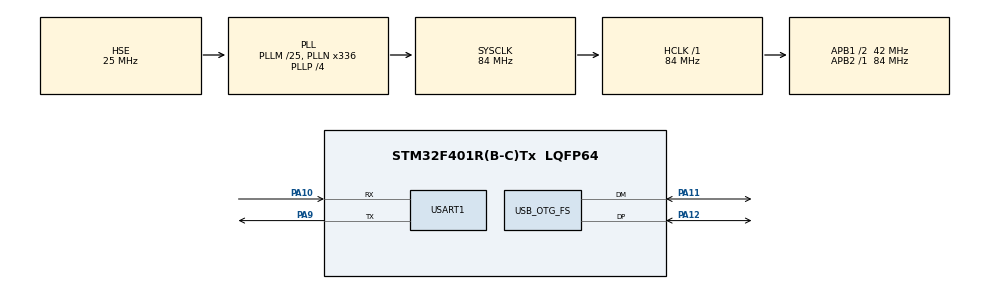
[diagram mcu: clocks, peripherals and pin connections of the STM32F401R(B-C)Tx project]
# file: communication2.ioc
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Mcu.Family=STM32F4
Mcu.Name=STM32F401R(B-C)Tx
Mcu.Package=LQFP64
NVIC.OTG_FS_IRQn=true\:0\:0\:false\:false\:true\:false\:true\:true
NVIC.PriorityGroup=NVIC_PRIORITYGROUP_4
PA10.Mode=Asynchronous
PA10.Signal=USART1_RX
PA11.Mode=Device_Only
PA11.Signal=USB_OTG_FS_DM
PA12.Mode=Device_Only
PA12.Signal=USB_OTG_FS_DP
PA13.Mode=Serial_Wire
PA13.Signal=SYS_JTMS-SWDIO
PA14.Mode=Serial_Wire
PA14.Signal=SYS_JTCK-SWCLK
PA9.Mode=Asynchronous
PA9.Signal=USART1_TX
PH0\ -\ OSC_IN.Mode=HSE-External-Oscillator
PH0\ -\ OSC_IN.Signal=RCC_OSC_IN
PH1\ -\ OSC_OUT.Mode=HSE-External-Oscillator
PH1\ -\ OSC_OUT.Signal=RCC_OSC_OUT
ProjectManager.HeapSize=0x400
ProjectManager.StackSize=0x800
ProjectManager.TargetToolchain=STM32CubeIDE
RCC.48MHZClocksFreq_Value=48000000
RCC.AHBFreq_Value=84000000
RCC.APB1CLKDivider=RCC_HCLK_DIV2
RCC.APB1Freq_Value=42000000
RCC.APB1TimFreq_Value=84000000
RCC.APB2Freq_Value=84000000
RCC.APB2TimFreq_Value=84000000
RCC.CortexFreq_Value=84000000
RCC.HCLKFreq_Value=84000000
RCC.HSE_VALUE=25000000
RCC.HSI_VALUE=16000000
RCC.LSE_VALUE=32768
RCC.PLLM=25
RCC.PLLN=336
RCC.PLLP=RCC_PLLP_DIV4
RCC.PLLQ=7
RCC.SYSCLKFreq_VALUE=84000000
RCC.SYSCLKSource=RCC_SYSCLKSOURCE_PLLCLK
RCC.VCOOutputFreq_Value=336000000
USART1.VirtualMode=VM_ASYNC
USB_DEVICE.CLASS_NAME_FS=CDC
USB_DEVICE.VirtualMode=Cdc
USB_DEVICE.VirtualModeFS=Cdc_FS
USB_OTG_FS.VirtualMode=Device_Only
VP_USB_DEVICE_VS_USB_DEVICE_CDC_FS.Mode=CDC_FS
board=custom

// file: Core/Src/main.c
/* USER CODE BEGIN Header */
/**
  ******************************************************************************
  * @file           : main.c
  * @brief          : Main program body
  ******************************************************************************
  * @attention
  *
  * Copyright (c) 2026 STMicroelectronics.
  * All rights reserved.
  *
  * This software is licensed under terms that can be found in the LICENSE file
  * in the root directory of this software component.
  * If no LICENSE file comes with this software, it is provided AS-IS.
  *
  ******************************************************************************
  */
/* USER CODE END Header */
#include "main.h"
#include "usb_device.h"

/* USER CODE BEGIN Includes */
#include "usbd_cdc_if.h"
#include <stdio.h>
#include <stdlib.h>
/* USER CODE END Includes */

UART_HandleTypeDef huart1;

/* USER CODE BEGIN PV */
static char line_buf[128];
static volatile uint16_t line_len = 0;
static volatile uint8_t line_ready = 0;
/* USER CODE END PV */

void SystemClock_Config(void);
static void MX_GPIO_Init(void);
static void MX_USART1_UART_Init(void);

/* USER CODE BEGIN 0 */
void usb_rx_handler(uint8_t *buf, uint32_t len)
{
  for (uint32_t i = 0; i < len; i++) {
    char c = (char)buf[i];
    if (line_ready) return;
    if (c == '\n') { line_buf[line_len] = 0; line_ready = 1; line_len = 0; }
    else if (c != '\r' && line_len < sizeof(line_buf) - 1) line_buf[line_len++] = c;
  }
}

static int parse8(const char *s, int v[8])
{
  char *p = (char *)s, *end;
  for (int i = 0; i < 8; i++) {
    long x = strtol(p, &end, 10);
    if (end == p || x < -200 || x > 200) return 0;
    v[i] = (int)x;
    p = end;
    if (i < 7) { if (*p != ',') return 0; p++; }
  }
  return 1;
}
/* USER CODE END 0 */

int main(void)
{

  /* MCU Configuration--------------------------------------------------------*/

  /* Reset of all peripherals, Initializes the Flash interface and the Systick. */
  HAL_Init();

  /* Configure the system clock */
  SystemClock_Config();

  /* Initialize all configured peripherals */
  MX_GPIO_Init();
  MX_USART1_UART_Init();
  MX_USB_DEVICE_Init();

  /* Infinite loop */
  /* USER CODE BEGIN WHILE */
  while (1)
  {if (line_ready) {
      int v[8];
      char out[96];
      if (parse8(line_buf, v)) {
        int n = snprintf(out, sizeof(out), "%d,%d,%d,%d,%d,%d,%d,%d\r\n",
                         v[0],v[1],v[2],v[3],v[4],v[5],v[6],v[7]);
        HAL_UART_Transmit(&huart1, (uint8_t*)out, n, 100);
        CDC_Transmit_FS((uint8_t*)out, n);
      } else {
        CDC_Transmit_FS((uint8_t*)"ERR\r\n", 5);
      }
      line_ready = 0;
    }
    /* USER CODE END WHILE */

  }
}

void SystemClock_Config(void)
{
  RCC_OscInitTypeDef RCC_OscInitStruct = {0};
  RCC_ClkInitTypeDef RCC_ClkInitStruct = {0};

  /** Configure the main internal regulator output voltage
  */
  __HAL_RCC_PWR_CLK_ENABLE();
  __HAL_PWR_VOLTAGESCALING_CONFIG(PWR_REGULATOR_VOLTAGE_SCALE2);

  /** Initializes the RCC Oscillators according to the specified parameters
  * in the RCC_OscInitTypeDef structure.
  */
  RCC_OscInitStruct.OscillatorType = RCC_OSCILLATORTYPE_HSE;
  RCC_OscInitStruct.HSEState = RCC_HSE_ON;
  RCC_OscInitStruct.PLL.PLLState = RCC_PLL_ON;
  RCC_OscInitStruct.PLL.PLLSource = RCC_PLLSOURCE_HSE;
  RCC_OscInitStruct.PLL.PLLM = 25;
  RCC_OscInitStruct.PLL.PLLN = 336;
  RCC_OscInitStruct.PLL.PLLP = RCC_PLLP_DIV4;
  RCC_OscInitStruct.PLL.PLLQ = 7;
  if (HAL_RCC_OscConfig(&RCC_OscInitStruct) != HAL_OK)
  {
    Error_Handler();
  }

  /** Initializes the CPU, AHB and APB buses clocks
  */
  RCC_ClkInitStruct.ClockType = RCC_CLOCKTYPE_HCLK|RCC_CLOCKTYPE_SYSCLK
                              |RCC_CLOCKTYPE_PCLK1|RCC_CLOCKTYPE_PCLK2;
  RCC_ClkInitStruct.SYSCLKSource = RCC_SYSCLKSOURCE_PLLCLK;
  RCC_ClkInitStruct.AHBCLKDivider = RCC_SYSCLK_DIV1;
  RCC_ClkInitStruct.APB1CLKDivider = RCC_HCLK_DIV2;
  RCC_ClkInitStruct.APB2CLKDivider = RCC_HCLK_DIV1;

  if (HAL_RCC_ClockConfig(&RCC_ClkInitStruct, FLASH_LATENCY_2) != HAL_OK)
  {
    Error_Handler();
  }
}

static void MX_USART1_UART_Init(void)
{

  huart1.Instance = USART1;
  huart1.Init.BaudRate = 115200;
  huart1.Init.WordLength = UART_WORDLENGTH_8B;
  huart1.Init.StopBits = UART_STOPBITS_1;
  huart1.Init.Parity = UART_PARITY_NONE;
  huart1.Init.Mode = UART_MODE_TX_RX;
  huart1.Init.HwFlowCtl = UART_HWCONTROL_NONE;
  huart1.Init.OverSampling = UART_OVERSAMPLING_16;
  if (HAL_UART_Init(&huart1) != HAL_OK)
  {
    Error_Handler();
  }

}

static void MX_GPIO_Init(void)
{

  /* GPIO Ports Clock Enable */
  __HAL_RCC_GPIOH_CLK_ENABLE();
  __HAL_RCC_GPIOA_CLK_ENABLE();

}

void Error_Handler(void)
{
  __disable_irq();
  while (1)
  {
  }
}
